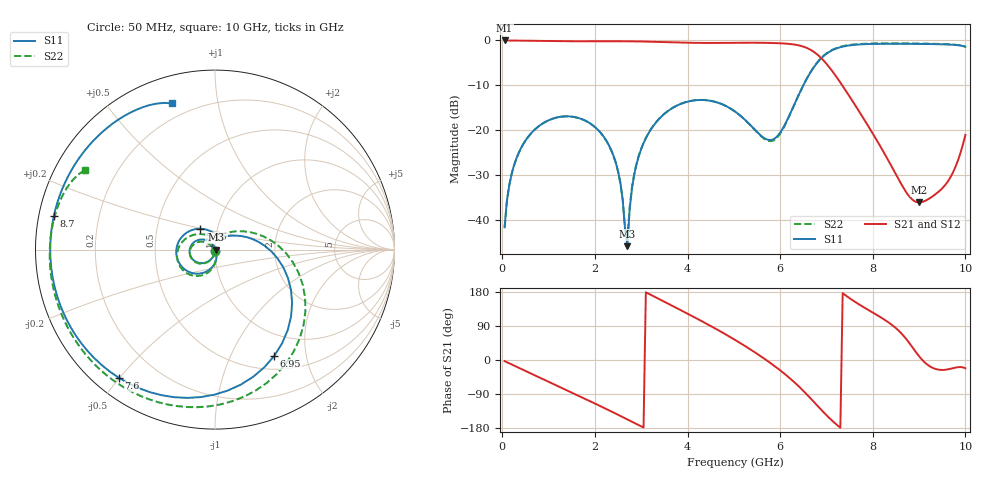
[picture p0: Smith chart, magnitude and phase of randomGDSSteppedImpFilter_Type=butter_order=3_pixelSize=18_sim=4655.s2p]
! freq	dB(S11)	phase(S11)	dB(S12)	phase(S12)
!  dB(S21)	phase(S21)	dB(S22)	phase(S22)
!S-par simulation data
#  GHz  S  DB  R 50
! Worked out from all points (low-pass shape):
!   200 points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, 50 MHz to 10 GHz, reference 50 ohm
!   highest |S21| = -0.01 dB at 50 MHz (marker M1); lowest = -36.1 dB at 9 GHz (marker M2)
!   |S21| within 3 dB of the highest: start of sweep to 6.786 GHz
!   lowest |S11| = -45.9 dB at 2.7 GHz (marker M3), VSWR 1.01, Z = 50.5 - j0.0833 ohm
!   |S11| at or under -10 dB: start of sweep to 6.501 GHz
!   |S22| runs from -44.4 to -0.6 dB; largest |S21 - S12| = 0
!   S11 on the Smith chart (normalised r, x): 50 MHz: 1.00, -0.02; 5.15 GHz: 0.82, +0.20; 6.95 GHz: 0.68, -1.48; 7.6 GHz: 0.07, -0.50; 8.7 GHz: 0.04, +0.10; 10 GHz: 0.13, +0.74
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0.05  -41.67 -91.7  -0.01 -2.9  -0.01 -2.9  -41.66 -91.4
0.2  -29.86 -101.6  -0.02 -11.6  -0.02 -11.6  -29.86 -101.0
0.55  -21.62 -123.0  -0.07 -31.7  -0.07 -31.7  -21.62 -121.4
1.75  -17.69 166.0  -0.19 -100.3  -0.19 -100.3  -17.69 172.2
2.4  -25.67 124.1  -0.18 -138.5  -0.18 -138.5  -25.72 138.3
2.55  -31.75 110.6  -0.18 -147.5  -0.18 -147.5  -31.83 135.0
2.7  -45.88 -9.3  -0.19 -156.7  -0.19 -156.7  -44.40 -125.0
2.9  -27.54 -77.7  -0.22 -168.9  -0.22 -168.9  -27.41 -82.6
3.4  -17.36 -113.0  -0.34 160.0  -0.34 160.0  -17.31 -107.9
4.3  -13.28 -172.5  -0.56 102.9  -0.56 102.9  -13.25 -161.0
5.05  -16.04 133.7  -0.53 51.3  -0.53 51.3  -16.03 151.6
5.15  -16.86 125.9  -0.52 43.8  -0.52 43.8  -16.86 144.9
5.95  -21.24 56.3  -0.61 -22.5  -0.61 -22.5  -21.48 73.4
6.4  -12.17 10.1  -1.10 -69.3  -1.10 -69.3  -12.16 21.1
6.7  -6.39 -27.9  -2.36 -107.0  -2.36 -107.0  -6.33 -15.5
6.95  -3.38 -60.8  -4.62 -139.5  -4.62 -139.5  -3.29 -46.5
7.6  -0.99 -126.9  -14.12 154.8  -14.12 154.8  -0.89 -107.2
8.35  -0.74 -174.1  -27.02 98.3  -27.02 98.3  -0.65 -147.8
8.7  -0.75 168.2  -33.49 58.8  -33.49 58.8  -0.66 -162.3
9  -0.77 154.0  -36.11 10.0  -36.11 10.0  -0.69 -173.5
9.6  -0.89 126.6  -31.76 -25.2  -31.76 -25.2  -0.83 165.0
10  -1.42 106.4  -21.07 -21.8  -21.07 -21.8  -1.41 148.7
